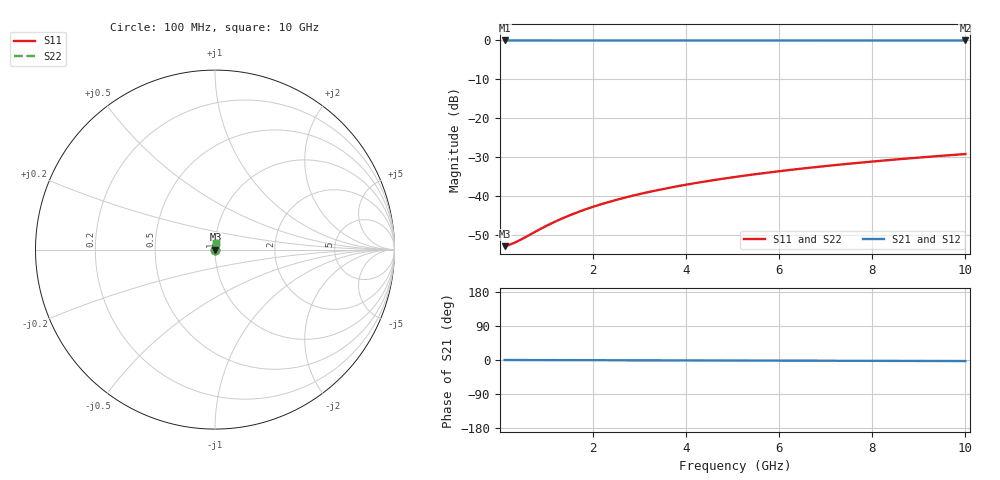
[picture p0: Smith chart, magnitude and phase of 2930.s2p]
# Hz S RI R 50.00
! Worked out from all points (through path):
!   100 points, 100 MHz to 10 GHz, reference 50 ohm
!   highest |S21| = -0.02 dB at 100 MHz (marker M1); lowest = 0.0 dB at 10 GHz (marker M2)
!   lowest |S11| = -52.7 dB at 100 MHz (marker M3), VSWR 1.00, Z = 50.2 + j0.0349 ohm
!   |S11| at or under -10 dB: start of sweep to end of sweep
!   |S22| runs from -52.7 to -29.1 dB; largest |S21 - S12| = 0
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1e8  0.00228 0.000347  0.9977 -0.000484  0.9977 -0.000484  0.00228 0.000347
2e8  0.00229 0.000694  0.9977 -0.000969  0.9977 -0.000969  0.00229 0.000694
3e8  0.00231 0.00104  0.9977 -0.00145  0.9977 -0.00145  0.00231 0.00104
4e8  0.00232 0.00139  0.9977 -0.00194  0.9977 -0.00194  0.00232 0.00139
9e8  0.00236 0.00312  0.9976 -0.00436  0.9976 -0.00436  0.00236 0.00312
1.2e9  0.00238 0.00416  0.9976 -0.00581  0.9976 -0.00581  0.00238 0.00416
1.5e9  0.00241 0.0052  0.9976 -0.00726  0.9976 -0.00726  0.00241 0.0052
1.8e9  0.00243 0.00625  0.9976 -0.00872  0.9976 -0.00872  0.00243 0.00625
2.1e9  0.00246 0.00729  0.9975 -0.0102  0.9975 -0.0102  0.00246 0.00729
2.5e9  0.0025 0.00867  0.9975 -0.0121  0.9975 -0.0121  0.0025 0.00867
2.9e9  0.00255 0.0101  0.9974 -0.014  0.9974 -0.014  0.00255 0.0101
3.4e9  0.00261 0.0118  0.9974 -0.0165  0.9974 -0.0165  0.00261 0.0118
3.8e9  0.00267 0.0132  0.9973 -0.0184  0.9973 -0.0184  0.00267 0.0132
4.2e9  0.00273 0.0146  0.9972 -0.0203  0.9972 -0.0203  0.00273 0.0146
4.6e9  0.0028 0.016  0.9972 -0.0223  0.9972 -0.0223  0.0028 0.016
5.1e9  0.00289 0.0177  0.9971 -0.0247  0.9971 -0.0247  0.00289 0.0177
5.9e9  0.00305 0.0205  0.9969 -0.0286  0.9969 -0.0286  0.00305 0.0205
6.7e9  0.00323 0.0232  0.9967 -0.0325  0.9967 -0.0325  0.00323 0.0232
7.5e9  0.00344 0.026  0.9965 -0.0363  0.9965 -0.0363  0.00344 0.026
8.4e9  0.0037 0.0291  0.9962 -0.0407  0.9962 -0.0407  0.0037 0.0291
9.2e9  0.00395 0.0319  0.996 -0.0446  0.996 -0.0446  0.00395 0.0319
1e10  0.00422 0.0347  0.9957 -0.0485  0.9957 -0.0485  0.00422 0.0347
